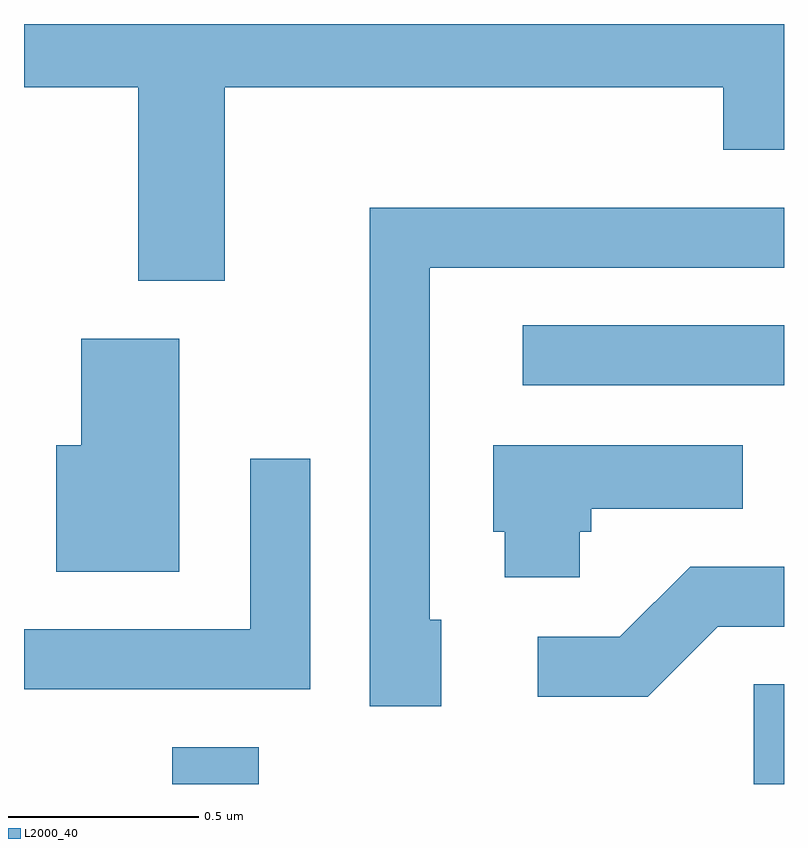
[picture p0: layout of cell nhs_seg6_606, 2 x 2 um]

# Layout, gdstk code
import gdstk
lib = gdstk.Library(unit=1e-6, precision=1e-09)
def R(c, l, rs):  # rectangles x0, y0, x1, y1
    for r in rs: c.add(gdstk.rectangle(r[:2], r[2:], *l))
def P(c, l, *ps):  # polygons
    for p in ps: c.add(gdstk.Polygon(p, *l))
L2000_40 = (2000, 40)

nhs_seg6_606 = lib.new_cell('nhs_seg6_606')
R(nhs_seg6_606, L2000_40, [(190.001,1588.162,190.229,1588.259), (191.531,1588.162,191.611,1588.424), (190.923,1589.211,191.611,1589.369)])
P(nhs_seg6_606, L2000_40, [(190.139,1589.996),(191.451,1589.996),(191.451,1589.831),(191.611,1589.831),(191.611,1590.162),(189.611,1590.162),(189.611,1589.996),(189.911,1589.996),(189.911,1589.486),(190.139,1589.486)],
  [(190.709,1588.594),(190.679,1588.594),(190.679,1589.521),(191.611,1589.521),(191.611,1589.679),(190.521,1589.679),(190.521,1588.366),(190.709,1588.366)],
  [(190.019,1589.334),(189.761,1589.334),(189.761,1589.054),(189.696,1589.054),(189.696,1588.721),(190.019,1588.721)],
  [(191.074,1588.826),(191.104,1588.826),(191.104,1588.886),(191.503,1588.886),(191.503,1589.054),(190.846,1589.054),(190.846,1588.826),(190.876,1588.826),(190.876,1588.706),(191.074,1588.706)],
  [(190.364,1589.018),(190.206,1589.018),(190.206,1588.569),(189.611,1588.569),(189.611,1588.411),(190.364,1588.411)],
  [(191.437,1588.576),(191.611,1588.576),(191.611,1588.734),(191.364,1588.734),(191.179,1588.549),(190.963,1588.549),(190.963,1588.391),(191.252,1588.391)])

lib.write_gds('nhs_seg6_606.gds')
